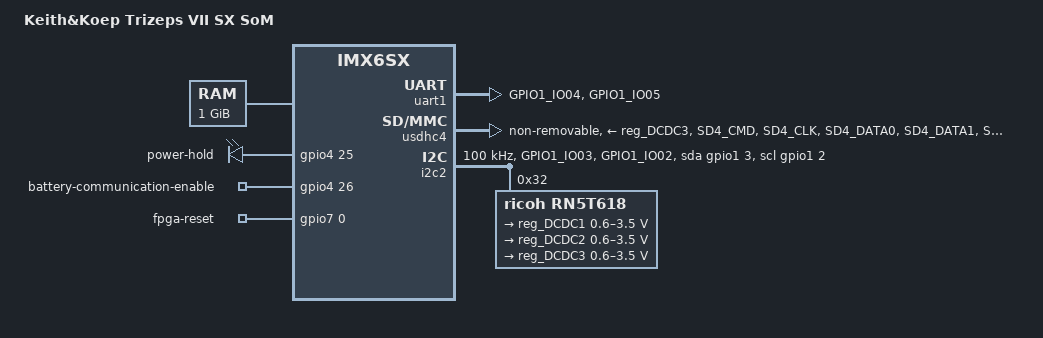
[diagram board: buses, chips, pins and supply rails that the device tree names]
// SPDX-License-Identifier: GPL-2.0
/*
 * Copyright (C) 2020 Kai Ruhnau <kai.ruhnau@target-sg.com>
 */

/dts-v1/;

#include "imx6sx.dtsi"

/ {
	model = "Keith&Koep Trizeps VII SX SoM";
	compatible = "keithkoep,imx6sx-trizeps-vii", "fsl,imx6sx";

	memory@80000000 {
		reg = <0x80000000 0x40000000>;
	};

	leds {
		compatible = "gpio-leds";
		pinctrl-names = "default";
		pinctrl-0 = <&pinctrl_leds>;

		power-hold {
			label = "power-hold";
			gpios = <&gpio4 25 0>;
		};

		battery-communication-enable {
			label = "battery-communication-enable";
			gpios = <&gpio4 26 0>;
		};

		fpga-reset {
			label = "fpga-reset";
			gpios = <&gpio7 0 0>;
		};
	};
};

&uart1 {
	pinctrl-names = "default";
	pinctrl-0 = <&pinctrl_uart1>;
	status = "okay";
};

&usdhc4 {
	pinctrl-names = "default";
	pinctrl-0 = <&pinctrl_usdhc4>;
	vmmc-supply = <&reg_DCDC3>;
	no-1-8-v;
	non-removable;
	status = "okay";
};

&i2c2 {
	clock-frequency = <100000>;
	pinctrl-names = "default", "gpio";
	pinctrl-0 = <&pinctrl_i2c2>;
	pinctrl-1 = <&pinctrl_i2c2_gpio>;
	sda-gpios = <&gpio1 3 0>;
	scl-gpios = <&gpio1 2 0>;
	status = "okay";

	rn5t618@32 {
		compatible = "ricoh,rn5t618";
		reg = <0x32>;

		regulators {
			reg_DCDC1: DCDC1 {
				regulator-min-microvolt = <600000>;
				regulator-max-microvolt = <3500000>;
				regulator-ramp-delay = <6000>;
			};

			reg_DCDC2: DCDC2 {
				regulator-min-microvolt = <600000>;
				regulator-max-microvolt = <3500000>;
				regulator-ramp-delay = <6000>;
				regulator-boot-on;
				regulator-always-on;
			};

			reg_DCDC3: DCDC3 {
				regulator-min-microvolt = <600000>;
				regulator-max-microvolt = <3500000>;
				regulator-ramp-delay = <6000>;
			};
		};
	};
};

&iomuxc {
	imx6sx-trizeps-vii-sx {
		pinctrl_leds: leds-grp {
			fsl,pins = <
				MX6SX_PAD_QSPI1B_DATA1__GPIO4_IO_25	0x1b0b1
				MX6SX_PAD_QSPI1B_DATA2__GPIO4_IO_26	0x1b0b1
				MX6SX_PAD_SD3_CLK__GPIO7_IO_0		0x1b0b1
			>;
		};

		pinctrl_uart1: uart1-grp {
			fsl,pins = <
				MX6SX_PAD_GPIO1_IO04__UART1_TX		0x1b0b1
				MX6SX_PAD_GPIO1_IO05__UART1_RX		0x1b0b1
			>;
		};

		pinctrl_usdhc4: usdhc4-grp {
			fsl,pins = <
				MX6SX_PAD_SD4_CMD__USDHC4_CMD		0x1f019
				MX6SX_PAD_SD4_CLK__USDHC4_CLK		0x1f019
				MX6SX_PAD_SD4_DATA0__USDHC4_DATA0	0x1f019
				MX6SX_PAD_SD4_DATA1__USDHC4_DATA1	0x1f019
				MX6SX_PAD_SD4_DATA2__USDHC4_DATA2	0x1f019
				MX6SX_PAD_SD4_DATA3__USDHC4_DATA3	0x1f019
			>;
		};

		pinctrl_i2c2: i2c2-grp {
			fsl,pins = <
				MX6SX_PAD_GPIO1_IO03__I2C2_SDA	0x4001b8b1
				MX6SX_PAD_GPIO1_IO02__I2C2_SCL	0x4001b8b1
			>;
		};

		pinctrl_i2c2_gpio: i2c2-gpio-grp {
			fsl,pins = <
				MX6SX_PAD_GPIO1_IO03__GPIO1_IO_3	0x4001b8b1
				MX6SX_PAD_GPIO1_IO02__GPIO1_IO_2	0x4001b8b1
			>;
		};
	};
};
